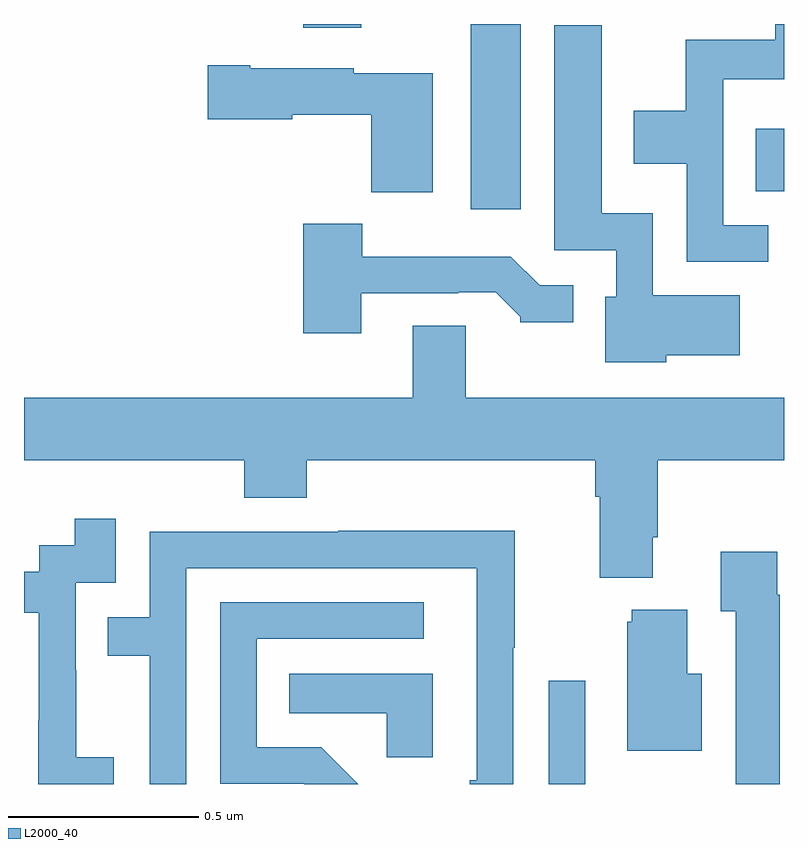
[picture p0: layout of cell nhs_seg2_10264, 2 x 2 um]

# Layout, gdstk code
import gdstk
lib = gdstk.Library(unit=1e-6, precision=1e-09)
def R(c, l, rs):  # rectangles x0, y0, x1, y1
    for r in rs: c.add(gdstk.rectangle(r[:2], r[2:], *l))
def P(c, l, *ps):  # polygons
    for p in ps: c.add(gdstk.Polygon(p, *l))
L2000_40 = (2000, 40)

nhs_seg2_10264 = lib.new_cell('nhs_seg2_10264')
R(nhs_seg2_10264, L2000_40, [(240.381,630.8,240.477,631.072), (240.176,632.313,240.307,632.8), (240.925,632.36,241,632.524), (239.735,632.79,239.887,632.8)])
P(nhs_seg2_10264, L2000_40, [(240.958,632.271),(240.84,632.271),(240.84,632.654),(241,632.654),(241,632.8),(240.977,632.8),(240.977,632.758),(240.742,632.758),(240.742,632.572),(240.605,632.572),(240.605,632.432),(240.744,632.432),(240.744,632.175),(240.958,632.175)],
  [(240.69,631.928),(240.883,631.928),(240.883,632.086),(240.654,632.086),(240.654,632.302),(240.52,632.302),(240.52,632.797),(240.395,632.797),(240.395,632.205),(240.558,632.205),(240.558,632.082),(240.53,632.082),(240.53,631.91),(240.69,631.91)],
  [(240.076,632.671),(239.868,632.671),(239.868,632.683),(239.596,632.683),(239.596,632.691),(239.484,632.691),(239.484,632.549),(239.706,632.549),(239.706,632.561),(239.914,632.561),(239.914,632.357),(240.076,632.357)],
  [(239.887,632.091),(240.143,632.091),(240.143,632.094),(240.242,632.094),(240.306,632.03),(240.306,632.015),(240.445,632.015),(240.445,632.112),(240.357,632.112),(240.281,632.188),(239.89,632.188),(239.89,632.275),(239.735,632.275),(239.735,631.986),(239.887,631.986)],
  [(240.655,631.45),(240.668,631.45),(240.668,631.652),(241,631.652),(241,631.816),(240.163,631.816),(240.163,632.006),(240.023,632.006),(240.023,631.816),(239,631.816),(239,631.652),(239.579,631.652),(239.579,631.553),(239.744,631.553),(239.744,631.652),(240.503,631.652),(240.503,631.556),(240.515,631.556),(240.515,631.343),(240.655,631.343)],
  [(239.236,630.871),(239.138,630.871),(239.138,631.1),(239.136,631.1),(239.136,631.329),(239.241,631.329),(239.241,631.498),(239.133,631.498),(239.133,631.428),(239.04,631.428),(239.04,631.359),(239,631.359),(239,631.251),(239.039,631.251),(239.039,630.967),(239.038,630.967),(239.038,630.8),(239.236,630.8)],
  [(239.427,631.368),(240.192,631.368),(240.192,630.81),(240.173,630.81),(240.173,630.8),(240.288,630.8),(240.288,631.159),(240.291,631.159),(240.291,631.466),(239.827,631.466),(239.827,631.464),(239.331,631.464),(239.331,631.239),(239.221,631.239),(239.221,631.138),(239.331,631.138),(239.331,630.8),(239.427,630.8)],
  [(240.989,631.298),(240.982,631.298),(240.982,631.411),(240.833,631.411),(240.833,631.255),(240.873,631.255),(240.873,630.8),(240.989,630.8)],
  [(239.782,630.897),(239.613,630.897),(239.613,631.182),(240.052,631.182),(240.052,631.278),(239.517,631.278),(239.517,630.801),(239.736,630.801),(239.737,630.8),(239.879,630.8)],
  [(240.784,631.09),(240.745,631.09),(240.745,631.258),(240.599,631.258),(240.599,631.227),(240.587,631.227),(240.587,630.887),(240.784,630.887)],
  [(240.076,631.09),(239.698,631.09),(239.698,630.986),(239.955,630.986),(239.955,630.871),(240.076,630.871)])

lib.write_gds('nhs_seg2_10264.gds')
